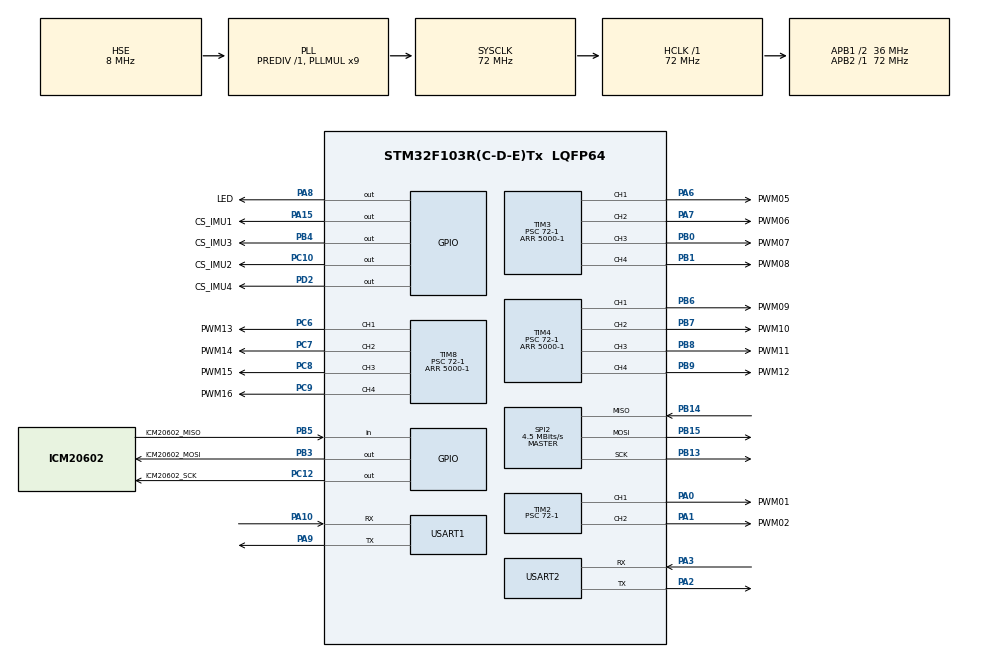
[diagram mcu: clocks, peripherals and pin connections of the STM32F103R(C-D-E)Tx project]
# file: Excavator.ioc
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Dma.Request0=USART1_RX
Dma.Request1=USART1_TX
Dma.Request2=USART2_RX
Dma.Request3=USART2_TX
Dma.USART1_RX.0.Direction=DMA_PERIPH_TO_MEMORY
Dma.USART1_RX.0.Instance=DMA1_Channel5
Dma.USART1_RX.0.MemDataAlignment=DMA_MDATAALIGN_BYTE
Dma.USART1_RX.0.MemInc=DMA_MINC_ENABLE
Dma.USART1_RX.0.Mode=DMA_CIRCULAR
Dma.USART1_RX.0.PeriphDataAlignment=DMA_PDATAALIGN_BYTE
Dma.USART1_RX.0.PeriphInc=DMA_PINC_DISABLE
Dma.USART1_RX.0.Priority=DMA_PRIORITY_HIGH
Dma.USART1_TX.1.Direction=DMA_MEMORY_TO_PERIPH
Dma.USART1_TX.1.Instance=DMA1_Channel4
Dma.USART1_TX.1.MemDataAlignment=DMA_MDATAALIGN_BYTE
Dma.USART1_TX.1.MemInc=DMA_MINC_ENABLE
Dma.USART1_TX.1.Mode=DMA_NORMAL
Dma.USART1_TX.1.PeriphDataAlignment=DMA_PDATAALIGN_BYTE
Dma.USART1_TX.1.PeriphInc=DMA_PINC_DISABLE
Dma.USART1_TX.1.Priority=DMA_PRIORITY_HIGH
Dma.USART2_RX.2.Direction=DMA_PERIPH_TO_MEMORY
Dma.USART2_RX.2.Instance=DMA1_Channel6
Dma.USART2_RX.2.MemDataAlignment=DMA_MDATAALIGN_BYTE
Dma.USART2_RX.2.MemInc=DMA_MINC_ENABLE
Dma.USART2_RX.2.Mode=DMA_NORMAL
Dma.USART2_RX.2.PeriphDataAlignment=DMA_PDATAALIGN_BYTE
Dma.USART2_RX.2.PeriphInc=DMA_PINC_DISABLE
Dma.USART2_RX.2.Priority=DMA_PRIORITY_LOW
Dma.USART2_TX.3.Direction=DMA_MEMORY_TO_PERIPH
Dma.USART2_TX.3.Instance=DMA1_Channel7
Dma.USART2_TX.3.MemDataAlignment=DMA_MDATAALIGN_BYTE
Dma.USART2_TX.3.MemInc=DMA_MINC_ENABLE
Dma.USART2_TX.3.Mode=DMA_NORMAL
Dma.USART2_TX.3.PeriphDataAlignment=DMA_PDATAALIGN_BYTE
Dma.USART2_TX.3.PeriphInc=DMA_PINC_DISABLE
Dma.USART2_TX.3.Priority=DMA_PRIORITY_LOW
Mcu.Family=STM32F1
Mcu.Name=STM32F103R(C-D-E)Tx
Mcu.Package=LQFP64
NVIC.DMA1_Channel4_IRQn=true\:3\:2\:true\:false\:true\:false\:true\:true
NVIC.DMA1_Channel5_IRQn=true\:3\:2\:true\:false\:true\:false\:true\:true
NVIC.DMA1_Channel6_IRQn=true\:3\:2\:true\:false\:true\:false\:true\:true
NVIC.DMA1_Channel7_IRQn=true\:3\:2\:true\:false\:true\:false\:true\:true
NVIC.PriorityGroup=NVIC_PRIORITYGROUP_2
NVIC.TIM6_IRQn=true\:2\:2\:true\:false\:true\:true\:true\:true
NVIC.USART1_IRQn=true\:2\:3\:true\:false\:true\:true\:true\:true
NVIC.USART2_IRQn=true\:2\:3\:true\:false\:true\:true\:true\:true
PA0-WKUP.GPIO_Label=PWM01
PA0-WKUP.Signal=S_TIM2_CH1_ETR
PA1.GPIO_Label=PWM02
PA1.Signal=S_TIM2_CH2
PA10.Mode=Asynchronous
PA10.Signal=USART1_RX
PA13.Mode=Serial_Wire
PA13.Signal=SYS_JTMS-SWDIO
PA14.Mode=Serial_Wire
PA14.Signal=SYS_JTCK-SWCLK
PA15.GPIO_Label=CS_IMU1
PA15.GPIO_PuPd=GPIO_PULLUP
PA15.PinState=GPIO_PIN_SET
PA15.Signal=GPIO_Output
PA2.Mode=Asynchronous
PA2.Signal=USART2_TX
PA3.Mode=Asynchronous
PA3.Signal=USART2_RX
PA6.GPIO_Label=PWM05
PA6.Signal=S_TIM3_CH1
PA7.GPIO_Label=PWM06
PA7.Signal=S_TIM3_CH2
PA8.GPIO_Label=LED
PA8.GPIO_PuPd=GPIO_PULLUP
PA8.PinState=GPIO_PIN_SET
PA8.Signal=GPIO_Output
PA9.Mode=Asynchronous
PA9.Signal=USART1_TX
PB0.GPIO_Label=PWM07
PB0.Signal=S_TIM3_CH3
PB1.GPIO_Label=PWM08
PB1.Signal=S_TIM3_CH4
PB13.Mode=Full_Duplex_Master
PB13.Signal=SPI2_SCK
PB14.Mode=Full_Duplex_Master
PB14.Signal=SPI2_MISO
PB15.Mode=Full_Duplex_Master
PB15.Signal=SPI2_MOSI
PB3.GPIO_Label=ICM20602_MOSI
PB3.PinState=GPIO_PIN_SET
PB3.Signal=GPIO_Output
PB4.GPIO_Label=CS_IMU3
PB4.GPIO_PuPd=GPIO_PULLUP
PB4.PinState=GPIO_PIN_SET
PB4.Signal=GPIO_Output
PB5.GPIO_Label=ICM20602_MISO
PB5.Signal=GPIO_Input
PB6.GPIO_Label=PWM09
PB6.Signal=S_TIM4_CH1
PB7.GPIO_Label=PWM10
PB7.Signal=S_TIM4_CH2
PB8.GPIO_Label=PWM11
PB8.Signal=S_TIM4_CH3
PB9.GPIO_Label=PWM12
PB9.Signal=S_TIM4_CH4
PC10.GPIO_Label=CS_IMU2
PC10.GPIO_PuPd=GPIO_PULLUP
PC10.PinState=GPIO_PIN_SET
PC10.Signal=GPIO_Output
PC12.GPIO_Label=ICM20602_SCK
PC12.PinState=GPIO_PIN_SET
PC12.Signal=GPIO_Output
PC6.GPIO_Label=PWM13
PC6.Signal=S_TIM8_CH1
PC7.GPIO_Label=PWM14
PC7.Signal=S_TIM8_CH2
PC8.GPIO_Label=PWM15
PC8.Signal=S_TIM8_CH3
PC9.GPIO_Label=PWM16
PC9.Signal=S_TIM8_CH4
PD0-OSC_IN.Mode=HSE-External-Oscillator
PD0-OSC_IN.Signal=RCC_OSC_IN
PD1-OSC_OUT.Mode=HSE-External-Oscillator
PD1-OSC_OUT.Signal=RCC_OSC_OUT
PD2.GPIO_Label=CS_IMU4
PD2.GPIO_PuPd=GPIO_PULLUP
PD2.PinState=GPIO_PIN_SET
PD2.Signal=GPIO_Output
ProjectManager.HeapSize=0x200
ProjectManager.StackSize=0x400
ProjectManager.TargetToolchain=MDK-ARM V5.27
RCC.AHBFreq_Value=72000000
RCC.APB1CLKDivider=RCC_HCLK_DIV2
RCC.APB1Freq_Value=36000000
RCC.APB1TimFreq_Value=72000000
RCC.APB2Freq_Value=72000000
RCC.APB2TimFreq_Value=72000000
RCC.FLatency=FLASH_LATENCY_2
RCC.HCLKFreq_Value=72000000
RCC.PLLMUL=RCC_PLL_MUL9
RCC.PLLSourceVirtual=RCC_PLLSOURCE_HSE
RCC.SYSCLKFreq_VALUE=72000000
RCC.SYSCLKSource=RCC_SYSCLKSOURCE_PLLCLK
RCC.USBFreq_Value=72000000
SH.S_TIM2_CH1_ETR.0=TIM2_CH1,PWM Generation1 CH1
SH.S_TIM2_CH2.0=TIM2_CH2,PWM Generation2 CH2
SH.S_TIM3_CH1.0=TIM3_CH1,PWM Generation1 CH1
SH.S_TIM3_CH2.0=TIM3_CH2,PWM Generation2 CH2
SH.S_TIM3_CH3.0=TIM3_CH3,PWM Generation3 CH3
SH.S_TIM3_CH4.0=TIM3_CH4,PWM Generation4 CH4
SH.S_TIM4_CH1.0=TIM4_CH1,PWM Generation1 CH1
SH.S_TIM4_CH2.0=TIM4_CH2,PWM Generation2 CH2
SH.S_TIM4_CH3.0=TIM4_CH3,PWM Generation3 CH3
SH.S_TIM4_CH4.0=TIM4_CH4,PWM Generation4 CH4
SH.S_TIM8_CH1.0=TIM8_CH1,PWM Generation1 CH1
SH.S_TIM8_CH2.0=TIM8_CH2,PWM Generation2 CH2
SH.S_TIM8_CH3.0=TIM8_CH3,PWM Generation3 CH3
SH.S_TIM8_CH4.0=TIM8_CH4,PWM Generation4 CH4
SPI2.BaudRatePrescaler=SPI_BAUDRATEPRESCALER_8
SPI2.CLKPhase=SPI_PHASE_2EDGE
SPI2.CLKPolarity=SPI_POLARITY_HIGH
SPI2.CalculateBaudRate=4.5 MBits/s
SPI2.Direction=SPI_DIRECTION_2LINES
SPI2.Mode=SPI_MODE_MASTER
SPI2.VirtualType=VM_MASTER
TIM2.AutoReloadPreload=TIM_AUTORELOAD_PRELOAD_DISABLE
TIM2.Channel-PWM\ Generation1\ CH1=TIM_CHANNEL_1
TIM2.Channel-PWM\ Generation2\ CH2=TIM_CHANNEL_2
TIM2.ClockDivision=TIM_CLOCKDIVISION_DIV1
TIM2.CounterMode=TIM_COUNTERMODE_UP
TIM2.OC1Preload_PWM=ENABLE
TIM2.OC2Preload_PWM=ENABLE
TIM2.OCFastMode_PWM-PWM\ Generation1\ CH1=TIM_OCFAST_DISABLE
TIM2.OCFastMode_PWM-PWM\ Generation2\ CH2=TIM_OCFAST_DISABLE
TIM2.OCMode_PWM-PWM\ Generation1\ CH1=TIM_OCMODE_PWM1
TIM2.OCMode_PWM-PWM\ Generation2\ CH2=TIM_OCMODE_PWM1
TIM2.OCPolarity_1=TIM_OCPOLARITY_HIGH
TIM2.OCPolarity_2=TIM_OCPOLARITY_HIGH
TIM2.Period=5000-1
TIM2.Prescaler=72-1
TIM2.Pulse-PWM\ Generation1\ CH1=0
TIM2.Pulse-PWM\ Generation2\ CH2=0
TIM2.TIM_MasterOutputTrigger=TIM_TRGO_RESET
TIM2.TIM_MasterSlaveMode=TIM_MASTERSLAVEMODE_DISABLE
TIM3.AutoReloadPreload=TIM_AUTORELOAD_PRELOAD_DISABLE
TIM3.Channel-PWM\ Generation1\ CH1=TIM_CHANNEL_1
TIM3.Channel-PWM\ Generation2\ CH2=TIM_CHANNEL_2
TIM3.Channel-PWM\ Generation3\ CH3=TIM_CHANNEL_3
TIM3.Channel-PWM\ Generation4\ CH4=TIM_CHANNEL_4
TIM3.ClockDivision=TIM_CLOCKDIVISION_DIV1
TIM3.CounterMode=TIM_COUNTERMODE_UP
TIM3.OC1Preload_PWM=ENABLE
TIM3.OC2Preload_PWM=ENABLE
TIM3.OC3Preload_PWM=ENABLE
TIM3.OC4Preload_PWM=ENABLE
TIM3.OCFastMode_PWM-PWM\ Generation1\ CH1=TIM_OCFAST_DISABLE
TIM3.OCFastMode_PWM-PWM\ Generation2\ CH2=TIM_OCFAST_DISABLE
TIM3.OCFastMode_PWM-PWM\ Generation3\ CH3=TIM_OCFAST_DISABLE
TIM3.OCFastMode_PWM-PWM\ Generation4\ CH4=TIM_OCFAST_DISABLE
TIM3.OCMode_PWM-PWM\ Generation1\ CH1=TIM_OCMODE_PWM1
TIM3.OCMode_PWM-PWM\ Generation2\ CH2=TIM_OCMODE_PWM1
TIM3.OCMode_PWM-PWM\ Generation3\ CH3=TIM_OCMODE_PWM1
TIM3.OCMode_PWM-PWM\ Generation4\ CH4=TIM_OCMODE_PWM1
TIM3.OCPolarity_1=TIM_OCPOLARITY_HIGH
TIM3.OCPolarity_2=TIM_OCPOLARITY_HIGH
TIM3.OCPolarity_3=TIM_OCPOLARITY_HIGH
TIM3.OCPolarity_4=TIM_OCPOLARITY_HIGH
TIM3.Period=5000-1
TIM3.Prescaler=72-1
TIM3.Pulse-PWM\ Generation1\ CH1=0
TIM3.Pulse-PWM\ Generation2\ CH2=0
TIM3.Pulse-PWM\ Generation3\ CH3=0
TIM3.Pulse-PWM\ Generation4\ CH4=0
TIM3.TIM_MasterOutputTrigger=TIM_TRGO_RESET
TIM3.TIM_MasterSlaveMode=TIM_MASTERSLAVEMODE_DISABLE
TIM4.AutoReloadPreload=TIM_AUTORELOAD_PRELOAD_DISABLE
TIM4.Channel-PWM\ Generation1\ CH1=TIM_CHANNEL_1
TIM4.Channel-PWM\ Generation2\ CH2=TIM_CHANNEL_2
TIM4.Channel-PWM\ Generation3\ CH3=TIM_CHANNEL_3
TIM4.Channel-PWM\ Generation4\ CH4=TIM_CHANNEL_4
TIM4.ClockDivision=TIM_CLOCKDIVISION_DIV1
TIM4.CounterMode=TIM_COUNTERMODE_UP
TIM4.OC1Preload_PWM=ENABLE
TIM4.OC2Preload_PWM=ENABLE
TIM4.OC3Preload_PWM=ENABLE
TIM4.OC4Preload_PWM=ENABLE
TIM4.OCFastMode_PWM-PWM\ Generation1\ CH1=TIM_OCFAST_DISABLE
TIM4.OCFastMode_PWM-PWM\ Generation2\ CH2=TIM_OCFAST_DISABLE
TIM4.OCFastMode_PWM-PWM\ Generation3\ CH3=TIM_OCFAST_DISABLE
TIM4.OCFastMode_PWM-PWM\ Generation4\ CH4=TIM_OCFAST_DISABLE
TIM4.OCMode_PWM-PWM\ Generation1\ CH1=TIM_OCMODE_PWM1
TIM4.OCMode_PWM-PWM\ Generation2\ CH2=TIM_OCMODE_PWM1
TIM4.OCMode_PWM-PWM\ Generation3\ CH3=TIM_OCMODE_PWM1
TIM4.OCMode_PWM-PWM\ Generation4\ CH4=TIM_OCMODE_PWM1
TIM4.OCPolarity_1=TIM_OCPOLARITY_HIGH
TIM4.OCPolarity_2=TIM_OCPOLARITY_HIGH
TIM4.OCPolarity_3=TIM_OCPOLARITY_HIGH
TIM4.OCPolarity_4=TIM_OCPOLARITY_HIGH
TIM4.Period=5000-1
TIM4.Prescaler=72-1
TIM4.Pulse-PWM\ Generation1\ CH1=0
TIM4.Pulse-PWM\ Generation2\ CH2=0
TIM4.Pulse-PWM\ Generation3\ CH3=0
TIM4.Pulse-PWM\ Generation4\ CH4=0
TIM4.TIM_MasterOutputTrigger=TIM_TRGO_RESET
TIM4.TIM_MasterSlaveMode=TIM_MASTERSLAVEMODE_DISABLE
TIM6.AutoReloadPreload=TIM_AUTORELOAD_PRELOAD_DISABLE
TIM6.CounterMode=TIM_COUNTERMODE_UP
TIM6.Period=5000-1
TIM6.Prescaler=72-1
TIM6.TIM_MasterOutputTrigger=TIM_TRGO_RESET
TIM8.AutoReloadPreload=TIM_AUTORELOAD_PRELOAD_DISABLE
TIM8.AutomaticOutput=TIM_AUTOMATICOUTPUT_DISABLE
TIM8.BreakPolarity=TIM_BREAKPOLARITY_HIGH
TIM8.BreakState=TIM_BREAK_DISABLE
TIM8.Channel-PWM\ Generation1\ CH1=TIM_CHANNEL_1
TIM8.Channel-PWM\ Generation2\ CH2=TIM_CHANNEL_2
TIM8.Channel-PWM\ Generation3\ CH3=TIM_CHANNEL_3
TIM8.Channel-PWM\ Generation4\ CH4=TIM_CHANNEL_4
TIM8.ClockDivision=TIM_CLOCKDIVISION_DIV1
TIM8.CounterMode=TIM_COUNTERMODE_UP
TIM8.LockLevel=TIM_LOCKLEVEL_OFF
TIM8.OC1Preload_PWM=ENABLE
TIM8.OC2Preload_PWM=ENABLE
TIM8.OC3Preload_PWM=ENABLE
TIM8.OCIdleState_1=TIM_OCIDLESTATE_RESET
TIM8.OCIdleState_2=TIM_OCIDLESTATE_RESET
TIM8.OCIdleState_3=TIM_OCIDLESTATE_RESET
TIM8.OCPolarity_1=TIM_OCPOLARITY_HIGH
TIM8.OCPolarity_2=TIM_OCPOLARITY_HIGH
TIM8.OCPolarity_3=TIM_OCPOLARITY_HIGH
TIM8.OffStateIDLEMode=TIM_OSSI_DISABLE
TIM8.OffStateRunMode=TIM_OSSR_DISABLE
TIM8.Period=5000-1
TIM8.Prescaler=72-1
TIM8.RepetitionCounter=0
TIM8.TIM_MasterOutputTrigger=TIM_TRGO_RESET
TIM8.TIM_MasterSlaveMode=TIM_MASTERSLAVEMODE_DISABLE
USART1.VirtualMode=VM_ASYNC
USART2.VirtualMode=VM_ASYNC
VP_TIM2_VS_ClockSourceINT.Mode=Internal
VP_TIM3_VS_ClockSourceINT.Mode=Internal
VP_TIM4_VS_ClockSourceINT.Mode=Internal
VP_TIM6_VS_ClockSourceINT.Mode=Enable_Timer
VP_TIM8_VS_ClockSourceINT.Mode=Internal
board=custom

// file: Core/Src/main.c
/* USER CODE BEGIN Header */
/**
  ******************************************************************************
  * @file           : main.c
  * @brief          : Main program body
  ******************************************************************************
  * @attention
  *
  * Copyright (c) 2022 STMicroelectronics.
  * All rights reserved.
  *
  * This software is licensed under terms that can be found in the LICENSE file
  * in the root directory of this software component.
  * If no LICENSE file comes with this software, it is provided AS-IS.
  *
  ******************************************************************************
  */
/* USER CODE END Header */
#include "main.h"
#include "dma.h"
#include "spi.h"
#include "tim.h"
#include "usart.h"
#include "gpio.h"

void SystemClock_Config(void);

int main(void)
{

  /* MCU Configuration--------------------------------------------------------*/

  /* Reset of all peripherals, Initializes the Flash interface and the Systick. */
  HAL_Init();

  /* Configure the system clock */
  SystemClock_Config();

  /* USER CODE BEGIN SysInit */
  MX_DMA_Init();//不可删除！DMA初始化需要在USART之前才能正常工作 但CUBE生成在后边 因此特地提至前面
  /* USER CODE END SysInit */

  /* Initialize all configured peripherals */
  MX_GPIO_Init();
  MX_USART1_UART_Init();
  MX_DMA_Init();
  MX_TIM6_Init();
  MX_TIM2_Init();
  MX_TIM3_Init();
  MX_TIM4_Init();
  MX_TIM8_Init();
  MX_USART2_UART_Init();
  MX_SPI2_Init();
  /* USER CODE BEGIN 2 */

	/******IMU初始化*******/
	HAL_Delay(500);			// 必须加延时！  否则上电时 mpu6050 初始化会失败
	//成功初始化后 uart_node节点正常运行 LED红灯闪烁
	icm20602_init(ICM20602_CS_Pointer[0]);
	icm20602_init(ICM20602_CS_Pointer[1]);
	icm20602_init(ICM20602_CS_Pointer[2]);
	icm20602_init(ICM20602_CS_Pointer[3]);

	HAL_Delay(500);
	/******获取加电时角速度的静态误差*******/

	Get_Gyro_Static_Error(ICM20602_CS_Pointer[0], &ICM20602_Data[0]);
	Get_Gyro_Static_Error(ICM20602_CS_Pointer[1], &ICM20602_Data[1]);
	Get_Gyro_Static_Error(ICM20602_CS_Pointer[2], &ICM20602_Data[2]);
	Get_Gyro_Static_Error(ICM20602_CS_Pointer[3], &ICM20602_Data[3]);
	//初始化四元数数据
	IMU_Data_Init(ICM20602_Data);

	/******定时器6中断初始化*******/
	__HAL_TIM_CLEAR_IT(&htim6,TIM_IT_UPDATE);
	HAL_TIM_Base_Start_IT(&htim6);

	/******PWM输出初始化*******/
	HAL_TIM_PWM_Start(&htim2,TIM_CHANNEL_1);
	HAL_TIM_PWM_Start(&htim2,TIM_CHANNEL_2);
	HAL_TIM_PWM_Start(&htim2,TIM_CHANNEL_3);
	HAL_TIM_PWM_Start(&htim2,TIM_CHANNEL_4);

	HAL_TIM_PWM_Start(&htim3,TIM_CHANNEL_1);
	HAL_TIM_PWM_Start(&htim3,TIM_CHANNEL_2);
	HAL_TIM_PWM_Start(&htim3,TIM_CHANNEL_3);
	HAL_TIM_PWM_Start(&htim3,TIM_CHANNEL_4);

	HAL_TIM_PWM_Start(&htim4,TIM_CHANNEL_1);
	HAL_TIM_PWM_Start(&htim4,TIM_CHANNEL_2);
	HAL_TIM_PWM_Start(&htim4,TIM_CHANNEL_3);
	HAL_TIM_PWM_Start(&htim4,TIM_CHANNEL_4);

	HAL_TIM_PWM_Start(&htim8,TIM_CHANNEL_1);
	HAL_TIM_PWM_Start(&htim8,TIM_CHANNEL_2);
	HAL_TIM_PWM_Start(&htim8,TIM_CHANNEL_3);
	HAL_TIM_PWM_Start(&htim8,TIM_CHANNEL_4);

	/******串口中断UART1初始化*******/

	HAL_UART_Receive_IT(&huart2,buff,1);

	/******ROSsetup*******/
	setup();

  /* USER CODE END 2 */

  /* Infinite loop */
  while (1)
  {

    /* USER CODE BEGIN 3 */
	//ROS serial loop
	loop();
  }
  /* USER CODE END 3 */
}

void SystemClock_Config(void)
{
  RCC_OscInitTypeDef RCC_OscInitStruct = {0};
  RCC_ClkInitTypeDef RCC_ClkInitStruct = {0};

  /** Initializes the RCC Oscillators according to the specified parameters
  * in the RCC_OscInitTypeDef structure.
  */
  RCC_OscInitStruct.OscillatorType = RCC_OSCILLATORTYPE_HSE;
  RCC_OscInitStruct.HSEState = RCC_HSE_ON;
  RCC_OscInitStruct.HSEPredivValue = RCC_HSE_PREDIV_DIV1;
  RCC_OscInitStruct.HSIState = RCC_HSI_ON;
  RCC_OscInitStruct.PLL.PLLState = RCC_PLL_ON;
  RCC_OscInitStruct.PLL.PLLSource = RCC_PLLSOURCE_HSE;
  RCC_OscInitStruct.PLL.PLLMUL = RCC_PLL_MUL9;
  if (HAL_RCC_OscConfig(&RCC_OscInitStruct) != HAL_OK)
  {
    Error_Handler();
  }

  /** Initializes the CPU, AHB and APB buses clocks
  */
  RCC_ClkInitStruct.ClockType = RCC_CLOCKTYPE_HCLK|RCC_CLOCKTYPE_SYSCLK
                              |RCC_CLOCKTYPE_PCLK1|RCC_CLOCKTYPE_PCLK2;
  RCC_ClkInitStruct.SYSCLKSource = RCC_SYSCLKSOURCE_PLLCLK;
  RCC_ClkInitStruct.AHBCLKDivider = RCC_SYSCLK_DIV1;
  RCC_ClkInitStruct.APB1CLKDivider = RCC_HCLK_DIV2;
  RCC_ClkInitStruct.APB2CLKDivider = RCC_HCLK_DIV1;

  if (HAL_RCC_ClockConfig(&RCC_ClkInitStruct, FLASH_LATENCY_2) != HAL_OK)
  {
    Error_Handler();
  }
}

/* USER CODE BEGIN 4 */
//定时器周期5ms
void HAL_TIM_PeriodElapsedCallback(TIM_HandleTypeDef *htim)
{
	if(htim->Instance==TIM6)
	{
		char data[200]="";
		static int k=0;
		static int flag = 1;
		//系统时间
		systime+=TimePeriod;
		k = (k+1)%10;

		IMUs_update(ICM20602_CS_Pointer, ICM20602_Data, Filters);

		//用于修正四元数标定（调整至最大角度）
		if(systime < 4.0)
		{
			Vector_Control(RevisionMotion);
		}
		else if (systime < 5.0)
		{
			Vector_Control(STOPVector);
		}

		if(systime > 5.0 && flag ==1)
		{
			flag=0;
			QuaternionReviser(ICM20602_Data, AngleforRevision);
		}

		if(systime > 5.5)
		{
			double pos[4] = {1.57, 0.8, 0, -1};
			double vel[4] = {0};

			//机械臂角度解算
			RobotArm_Resolver(ICM20602_Data, Angles);
			urdfAngles[0] = Angles[0];
			  urdfAngles[1] = Angles[1];
			  urdfAngles[2] = Angles[2]-1.5708;
			  urdfAngles[3] = Angles[3]-4.7124;

			//输出关节角度
			if(k==0)
			{
				sprintf(data, "\r\n%.0f\t%.0f\t%.0f\t%.0f", Angles[0]*57.3,Angles[1]*57.3,Angles[2]*57.3, Angles[3]*57.3);
//				HAL_UART_Transmit_DMA(&huart2, (uint8_t*)data, sizeof(data));
//				HALprintf(data);
			}

			//匿名飞控信息发送
//			ANOTC_Attitude_Display_DMA(&huart2, ICM20602_Data[2]);//未修正
//			ANOTC_RevisedAttitude_Display_DMA(&huart2, &ICM20602_Data[0]);
//			ANOTC_RevisedAttitude_Display_DMA(&huart2, &ICM20602_Data[1]);
//			ANOTC_RevisedAttitude_Display_DMA(&huart2, &ICM20602_Data[2]);
//			ANOTC_RevisedAttitude_Display_DMA(&huart2, &ICM20602_Data[3]);

//			PID_arm_controller(pos, vel, urdfAngles);

			//电机控制函数
			Vector_Control_with_Time_Limited(MOTOR_Continue);

			//串口马达控制
			key_teleop_ctrl(&cmd);

		}

	}
}

void HAL_UART_TxCpltCallback(UART_HandleTypeDef *huart){
	if(huart == (&huart1))
	{
		USART_TxCplt_ROSCallback();
	}
}

void HAL_UART_RxCpltCallback(UART_HandleTypeDef *huart)
{
	if(huart == (&huart1))
	{
		USART_RxCplt_ROSCallback();
	}

	if(huart == (&huart2))
	{
		cmd = buff[0];
		HAL_UART_Receive_IT(huart,buff,1);
	}
}

/* USER CODE END 4 */

void Error_Handler(void)
{
  __disable_irq();
  while (1)
  {
  }
}
